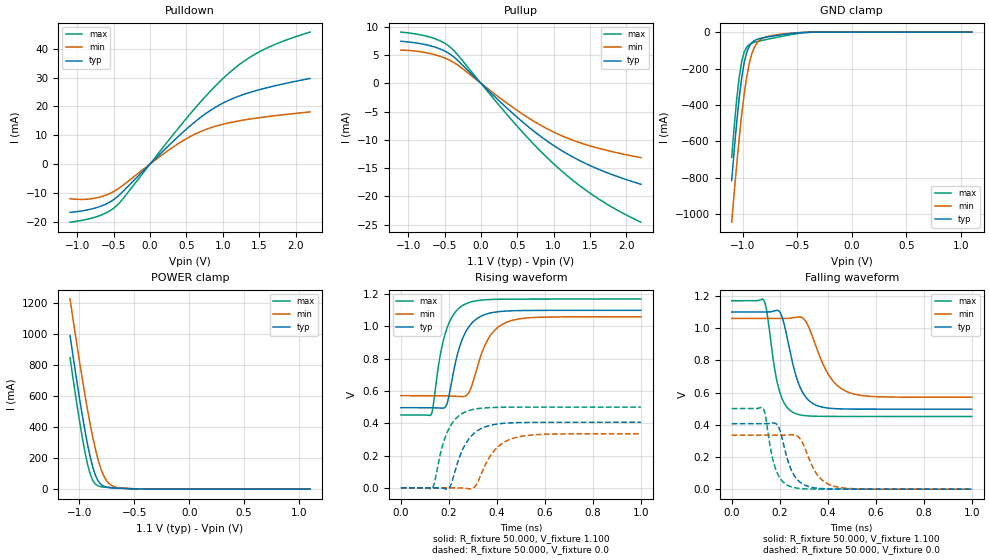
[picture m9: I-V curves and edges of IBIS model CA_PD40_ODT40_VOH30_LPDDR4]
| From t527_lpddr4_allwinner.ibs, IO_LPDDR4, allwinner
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|   Model CA_PD40_ODT40_VOH30_LPDDR4
[Model] CA_PD40_ODT40_VOH30_LPDDR4
Model_type 3-state
Polarity   Non-Inverting
Enable   Active-Low
C_comp   1.517pF   1.474pF   1.575pF
C_comp_pullup   0.529pF   0.510pF   0.551pF
C_comp_pulldown   0.791pF   0.770pF   0.826pF
[Temperature Range]   25.000   0.125k   -40.000
[Voltage Range]   1.100V   1.060V   1.170V
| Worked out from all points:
|   slope of the pulldown table from 0 to 0.165 V, typ, clamps not added: 39.6 ohm
|   slope of the pullup table from 0 to 0.165 V, typ, clamps not added: 80.1 ohm
|   GND clamp passes 1 mA (typ) near -0.41 V on its own axis
|   POWER clamp passes 1 mA (typ) near -0.43 V on its own axis
|   rising waveform, R_fixture 50.000, V_fixture 1.100: 20-80 % time 68.5ps typ, 79.5ps min, 59.7ps max; typ from 0.497 V to 1.1 V
|   rising waveform, R_fixture 50.000, V_fixture 0.0: 20-80 % time 74.5ps typ, 86.2ps min, 64.3ps max; typ from 0 V to 0.406 V
|   falling waveform, R_fixture 50.000, V_fixture 1.100: 20-80 % time 64.2ps typ, 90.8ps min, 48ps max; typ from 1.1 V to 0.497 V
|   falling waveform, R_fixture 50.000, V_fixture 0.0: 20-80 % time 53.5ps typ, 67.9ps min, 43.2ps max; typ from 0.406 V to 0 V
[Pulldown]
|Voltage   I(typ)   I(min)   I(max)
-1.1V     -16.79mA   -12.06mA   -20.22mA
-930mV    -16.27mA   -12.3mA    -19.55mA
-760mV    -15.34mA   -11.9mA    -18.51mA
-590mV    -13.74mA   -10.65mA   -16.81mA
-454mV    -11.47mA   -8.859mA   -14.37mA
396mV     9.766mA    7.199mA    12.65mA
668mV     15.67mA    10.97mA    20.83mA
940mV     20.31mA    13.41mA    28.18mA
1.212V    23.49mA    14.94mA    34.25mA
1.484V    25.69mA    16.03mA    38.73mA
1.79V     27.6mA     17mA       42.29mA
2.2V      29.73mA    18.11mA    45.84mA
[Pullup]
|Voltage   I(typ)   I(min)   I(max)
-1.1V     7.428mA    5.851mA    9.045mA
-690mV    6.608mA    5.228mA    8.118mA
-520mV    5.839mA    4.581mA    7.239mA
-418mV    5.091mA    3.997mA    6.347mA
-282mV    3.584mA    2.878mA    4.448mA
466mV     -5.65mA    -4.511mA   -7.12mA
738mV     -8.578mA   -6.799mA   -10.94mA
1.01V     -11.09mA   -8.694mA   -14.37mA
1.282V    -13.17mA   -10.16mA   -17.36mA
1.554V    -14.86mA   -11.28mA   -19.91mA
1.86V     -16.42mA   -12.26mA   -22.33mA
2.2V      -17.86mA   -13.16mA   -24.57mA
[GND_clamp]
|Voltage   I(typ)   I(min)   I(max)
-1.1V     -814.2mA   -1.043A    -687.2mA
-1.054V   -495mA     -726.6mA   -368.4mA
-1.031V   -359.8mA   -581.8mA   -246.6mA
-1.008V   -248.8mA   -450.8mA   -160.4mA
-985mV    -166.1mA   -337.2mA   -108.9mA
-962mV    -110.9mA   -243.9mA   -82mA
-939mV    -77.34mA   -172mA     -68.54mA
-893mV    -47.19mA   -84.42mA   -56.41mA
-847mV    -36.11mA   -45.88mA   -49.32mA
-709mV    -20.5mA    -16.45mA   -31.34mA
-364mV    -357.3uA   -448.4uA   -961.5uA
1.1V      0A         0A         0A
[POWER_clamp]
|Voltage   I(typ)   I(min)   I(max)
-1.085V   991.5mA    1.227A     848.5mA
-1.016V   664.1mA    901.8mA    518.1mA
-970mV    462mA      696.7mA    319.4mA
-924mV    282.7mA    505.5mA    156.2mA
-901mV    206.2mA    417.2mA    96.77mA
-855mV    91.54mA    261mA      33.12mA
-809mV    34.38mA    141.1mA    16.55mA
-763mV    15.18mA    65.46mA    12.33mA
-717mV    9.406mA    28.28mA    10.15mA
-625mV    5.459mA    7.413mA    6.616mA
-441mV    1.153mA    1.563mA    1.234mA
1.1V      0A         0A         0A
[Ramp]
| variable   typ   min   max
dV/dt_r   0.244/74.546p   0.201/86.199p   0.300/64.333p
dV/dt_f   0.362/64.230p   0.293/90.843p   0.431/48.162p
R_load = 50.000
[Rising Waveform]
R_fixture= 50.000
V_fixture= 1.100
V_fixture_min= 1.060
V_fixture_max= 1.170
|time   V(typ)   V(min)   V(max)
0s        496.7mV    571.1mV    451.6mV
126ps     496.9mV    571.1mV    453.1mV
162ps     494.1mV    571.1mV    805.5mV
186ps     502.9mV    571mV      962mV
236ps     829.4mV    566mV      1.105V
267ps     957.6mV    567.7mV    1.138V
289ps     1.009V     607.9mV    1.151V
359ps     1.078V     909.7mV    1.166V
434ps     1.095V     1.022V     1.169V
1ns       1.1V       1.06V      1.17V
[Rising Waveform]
R_fixture= 50.000
V_fixture= 0.0
V_fixture_min= 0.0
V_fixture_max= 0.0
|time   V(typ)   V(min)   V(max)
0s        2.035uV    51.15uV    145.5nV
131ps     441uV      58.67uV    -3.644mV
170ps     -1.088mV   22.59uV    243.2mV
196ps     -7.299mV   397.1uV    354mV
232ps     136mV      364.3uV    433.7mV
281ps     298.4mV    -5.975mV   477.6mV
311ps     345.2mV    12.05mV    488.6mV
392ps     393.3mV    235.5mV    498.4mV
469ps     403.3mV    307.6mV    500mV
1ns       406.3mV    335mV      500.4mV
[Falling Waveform]
R_fixture= 50.000
V_fixture= 1.100
V_fixture_min= 1.060
V_fixture_max= 1.170
|time   V(typ)   V(min)   V(max)
0s        1.1V       1.06V      1.17V
133ps     1.1V       1.06V      1.175V
196ps     1.107V     1.06V      624.4mV
217ps     1.034V     1.059V     539.7mV
259ps     751mV      1.065V     474.2mV
298ps     594.9mV    1.061V     458mV
330ps     540mV      973.3mV    453.9mV
404ps     503.1mV    709.5mV    451.8mV
480ps     497.6mV    605.3mV    451.6mV
1ns       496.8mV    571.1mV    451.6mV
[Falling Waveform]
R_fixture= 50.000
V_fixture= 0.0
V_fixture_min= 0.0
V_fixture_max= 0.0
|time   V(typ)   V(min)   V(max)
0s        406.3mV    335mV      500.4mV
131ps     406mV      335mV      501.7mV
183ps     408mV      334.8mV    125.4mV
201ps     365.9mV    334.8mV    68.97mV
247ps     123.8mV    338.6mV    15mV
278ps     52.47mV    324.4mV    5.375mV
304ps     25.47mV    258.8mV    2.274mV
355ps     6.183mV    92.6mV     420.2uV
421ps     991.6uV    20.39mV    47.39uV
1ns       2.04uV     51.18uV    148.2nV
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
